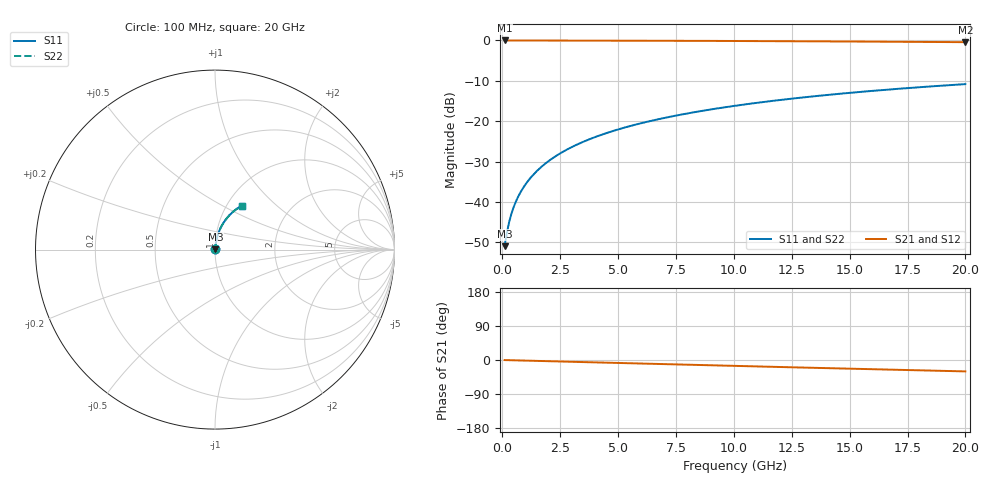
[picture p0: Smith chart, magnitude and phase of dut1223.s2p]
! Touchstone file exported from HFSS 2026.1.0
!  File:  C:/ffzhzh/LocalFiles/Ansys_Project_Files/temp_train_BSMRDL_1223_1783176825_22436.aedt
!  Generated:  10:55:03 PM Jul  4, 2026
!  Design:  BSMRDL
!  Project:  temp_train_BSMRDL_1223_1783176825_22436
! Variables:
!  h_bsmrdl = 2.6um
!  h_ox = 20um
!  h_rdl = 5um
!  h_sub = 80um
!  h_tmrdl = 5um
!  h_tsv = 80um
!  h_via = 3um
!  l_bsmrdl = 400.59um
!  l_sub = 800.59um
!  l_tmrdl = 200um
!  m_sub = 200um
!  pitch = 57.69um
!  r_tsv = 6um
!  s_tmrdl = 10um
!  w_bsmrdl = 28.94um
!  w_sub = 500um
!  w_tmrdl = 12um
!  x_tsv_center1 = 206um
!  x_tsv_center2 = 635.53um
!  x_tsv_center3 = 847.53um
!  x_tsv_center4 = 1277.06um
!  x_tsv_center5 = 1489.06um
!  x_tsv_center6 = 1918.59um
# GHz S MA R 50.000000
! Terminal data exported
! Port[1] = BSM_RDL1_1_T1
! Port[2] = BSM_RDL1_1_T2
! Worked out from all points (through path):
!   200 points, 100 MHz to 20 GHz, reference 50 ohm
!   highest |S21| = -0.02 dB at 100 MHz (marker M1); lowest = -0.4 dB at 20 GHz (marker M2)
!   group delay of S21, straight-line fit = 4.18 ps
!   lowest |S11| = -50.9 dB at 100 MHz (marker M3), VSWR 1.01, Z = 50.2 + j0.177 ohm
!   |S11| at or under -10 dB: start of sweep to end of sweep
!   |S22| runs from -50.9 to -10.8 dB; largest |S21 - S12| = 2.1e-15
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0.1  0.002847 38.3  0.9978 -0.2  0.9978 -0.2  0.002847 38.3
! Gamma 0 0 0 0
! Port Impedance 50 0 50 0
0.2  0.004203 56.1  0.9977 -0.3  0.9977 -0.3  0.004203 56.1
0.3  0.005722 64.2  0.9975 -0.5  0.9975 -0.5  0.005722 64.2
0.4  0.007264 68.7  0.9974 -0.7  0.9974 -0.7  0.007264 68.7
0.5  0.008804 71.6  0.9973 -0.8  0.9973 -0.8  0.008804 71.6
0.6  0.01034 73.7  0.9972 -1.0  0.9972 -1.0  0.01034 73.7
0.8  0.01342 76.5  0.9971 -1.3  0.9971 -1.3  0.01342 76.5
1.1  0.01807 78.9  0.9969 -1.7  0.9969 -1.7  0.01807 78.9
1.3  0.02118 79.8  0.9968 -2.1  0.9968 -2.1  0.02118 79.8
1.6  0.02588 80.7  0.9966 -2.5  0.9966 -2.5  0.02587 80.7
2.1  0.03373 81.4  0.9963 -3.3  0.9963 -3.3  0.03373 81.4
2.7  0.04316 81.5  0.9959 -4.2  0.9959 -4.2  0.04316 81.5
3.5  0.05573 81.0  0.9951 -5.5  0.9951 -5.5  0.05573 81.0
4.2  0.06668 80.4  0.9943 -6.6  0.9943 -6.6  0.06668 80.4
5  0.07912 79.5  0.9932 -7.8  0.9932 -7.8  0.07912 79.5
5.9  0.09302 78.4  0.9918 -9.2  0.9918 -9.2  0.09302 78.4
6.8  0.1068 77.2  0.9901 -10.6  0.9901 -10.6  0.1068 77.2
8.3  0.1294 75.1  0.987 -12.9  0.987 -12.9  0.1294 75.1
10.1  0.1559 72.5  0.9827 -15.6  0.9827 -15.6  0.1559 72.5
13.4  0.2027 67.7  0.9733 -20.6  0.9733 -20.6  0.2027 67.8
16.7  0.2467 63.0  0.9624 -25.4  0.9624 -25.4  0.2467 63.1
20  0.2877 58.4  0.9505 -30.1  0.9505 -30.1  0.2877 58.5
